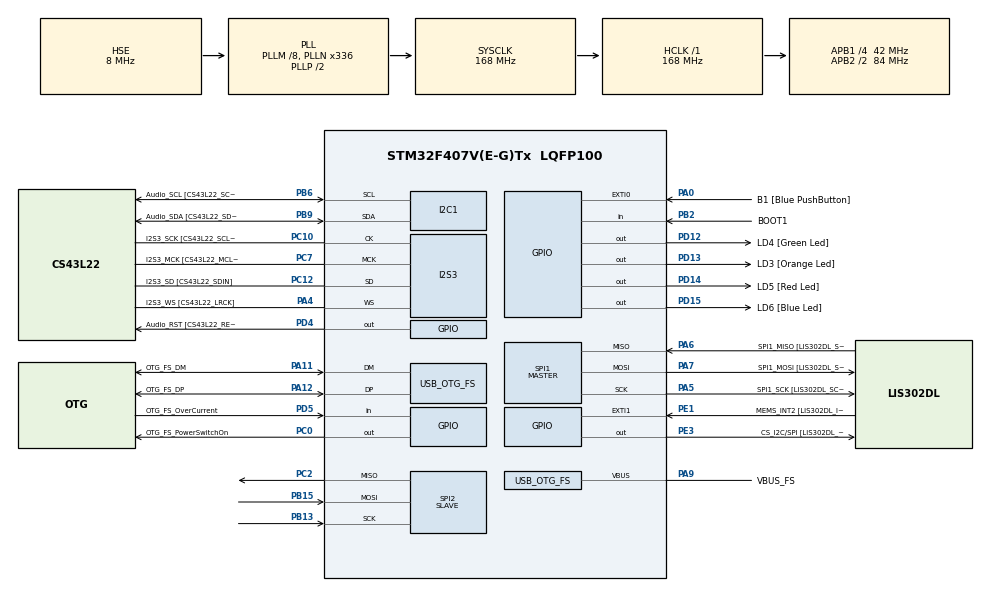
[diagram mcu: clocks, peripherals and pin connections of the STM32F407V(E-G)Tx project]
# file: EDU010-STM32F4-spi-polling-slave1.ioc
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I2S3.AudioFreq-Half_Duplex_Master=I2S_AUDIOFREQ_96K
I2S3.ErrorAudioFreq=-2.34 %
I2S3.ErrorAudioFreq-Half_Duplex_Master=0.8 %
I2S3.FullDuplexMode=I2S_FULLDUPLEXMODE_DISABLE
I2S3.Instance=SPI$Index
I2S3.RealAudioFreq=93.75 KHz
I2S3.RealAudioFreq-Half_Duplex_Master=96.774 KHz
I2S3.VirtualMode=I2S_MODE_MASTER
Mcu.Family=STM32F4
Mcu.Name=STM32F407V(E-G)Tx
Mcu.Package=LQFP100
NVIC.OTG_FS_IRQn=true\:0\:0\:false\:false\:true\:true\:true\:true
NVIC.PriorityGroup=NVIC_PRIORITYGROUP_0
NVIC.SPI2_IRQn=true\:0\:0\:false\:false\:true\:true\:true\:true
PA0-WKUP.GPIO_Label=B1 [Blue PushButton]
PA0-WKUP.GPIO_ModeDefaultEXTI=GPIO_MODE_EVT_RISING
PA0-WKUP.GPIO_PuPd=GPIO_NOPULL
PA0-WKUP.Signal=GPXTI0
PA10.GPIO_Label=OTG_FS_ID
PA10.GPIO_Mode=GPIO_MODE_AF_PP
PA10.GPIO_PuPd=GPIO_NOPULL
PA10.GPIO_Speed=GPIO_SPEED_FREQ_LOW
PA10.Signal=USB_OTG_FS_ID
PA11.GPIO_Label=OTG_FS_DM
PA11.GPIO_Mode=GPIO_MODE_AF_PP
PA11.GPIO_PuPd=GPIO_NOPULL
PA11.GPIO_Speed=GPIO_SPEED_FREQ_LOW
PA11.Mode=Host_Only
PA11.Signal=USB_OTG_FS_DM
PA12.GPIO_Label=OTG_FS_DP
PA12.GPIO_Mode=GPIO_MODE_AF_PP
PA12.GPIO_PuPd=GPIO_NOPULL
PA12.GPIO_Speed=GPIO_SPEED_FREQ_LOW
PA12.Mode=Host_Only
PA12.Signal=USB_OTG_FS_DP
PA13.GPIO_Label=SWDIO
PA13.Mode=Serial_Wire
PA13.Signal=SYS_JTMS-SWDIO
PA14.GPIO_Label=SWCLK
PA14.Mode=Serial_Wire
PA14.Signal=SYS_JTCK-SWCLK
PA4.GPIO_Label=I2S3_WS [CS43L22_LRCK]
PA4.GPIO_Mode=GPIO_MODE_AF_PP
PA4.GPIO_PuPd=GPIO_NOPULL
PA4.GPIO_Speed=GPIO_SPEED_FREQ_LOW
PA4.Mode=Half_Duplex_Master
PA4.Signal=I2S3_WS
PA5.GPIO_Label=SPI1_SCK [LIS302DL_SCL/SPC]
PA5.GPIO_Mode=GPIO_MODE_AF_PP
PA5.GPIO_PuPd=GPIO_NOPULL
PA5.GPIO_Speed=GPIO_SPEED_FREQ_LOW
PA5.Mode=Full_Duplex_Master
PA5.Signal=SPI1_SCK
PA6.GPIO_Label=SPI1_MISO [LIS302DL_SDO]
PA6.GPIO_Mode=GPIO_MODE_AF_PP
PA6.GPIO_PuPd=GPIO_NOPULL
PA6.GPIO_Speed=GPIO_SPEED_FREQ_LOW
PA6.Mode=Full_Duplex_Master
PA6.Signal=SPI1_MISO
PA7.GPIO_Label=SPI1_MOSI [LIS302DL_SDA/SDI/SDO]
PA7.GPIO_Mode=GPIO_MODE_AF_PP
PA7.GPIO_PuPd=GPIO_NOPULL
PA7.GPIO_Speed=GPIO_SPEED_FREQ_LOW
PA7.Mode=Full_Duplex_Master
PA7.Signal=SPI1_MOSI
PA9.GPIO_Label=VBUS_FS
PA9.GPIO_Mode=GPIO_MODE_INPUT
PA9.GPIO_PuPd=GPIO_NOPULL
PA9.Mode=Activate_VBUS
PA9.Signal=USB_OTG_FS_VBUS
PB10.GPIO_Label=CLK_IN [MP45DT02_CLK]
PB10.GPIO_Mode=GPIO_MODE_AF_PP
PB10.GPIO_PuPd=GPIO_NOPULL
PB10.GPIO_Speed=GPIO_SPEED_FREQ_LOW
PB10.Signal=I2S2_CK
PB13.Mode=Full_Duplex_Slave
PB13.Signal=SPI2_SCK
PB15.Mode=Full_Duplex_Slave
PB15.Signal=SPI2_MOSI
PB2.GPIO_Label=BOOT1
PB2.GPIO_Mode=GPIO_MODE_INPUT
PB2.GPIO_PuPd=GPIO_NOPULL
PB2.Signal=GPIO_Input
PB3.GPIO_Label=SWO
PB3.Signal=SYS_JTDO-SWO
PB6.GPIO_Label=Audio_SCL [CS43L22_SCL]
PB6.GPIO_Mode=GPIO_MODE_AF_OD
PB6.GPIO_Pu=GPIO_PULLUP
PB6.GPIO_PuPd=GPIO_NOPULL
PB6.GPIO_Speed=GPIO_SPEED_FREQ_LOW
PB6.Mode=I2C
PB6.Signal=I2C1_SCL
PB9.GPIO_Label=Audio_SDA [CS43L22_SDA]
PB9.GPIO_Mode=GPIO_MODE_AF_OD
PB9.GPIO_Pu=GPIO_PULLUP
PB9.GPIO_PuPd=GPIO_NOPULL
PB9.GPIO_Speed=GPIO_SPEED_FREQ_LOW
PB9.Mode=I2C
PB9.Signal=I2C1_SDA
PC0.GPIO_Label=OTG_FS_PowerSwitchOn
PC0.GPIO_PuPd=GPIO_NOPULL
PC0.GPIO_Speed=GPIO_SPEED_FREQ_LOW
PC0.PinState=GPIO_PIN_SET
PC0.Signal=GPIO_Output
PC10.GPIO_Label=I2S3_SCK [CS43L22_SCLK]
PC10.GPIO_Mode=GPIO_MODE_AF_PP
PC10.GPIO_PuPd=GPIO_NOPULL
PC10.GPIO_Speed=GPIO_SPEED_FREQ_LOW
PC10.Mode=Half_Duplex_Master
PC10.Signal=I2S3_CK
PC12.GPIO_Label=I2S3_SD [CS43L22_SDIN]
PC12.GPIO_Mode=GPIO_MODE_AF_PP
PC12.GPIO_PuPd=GPIO_NOPULL
PC12.GPIO_Speed=GPIO_SPEED_FREQ_LOW
PC12.Mode=Half_Duplex_Master
PC12.Signal=I2S3_SD
PC14-OSC32_IN.GPIO_Label=PC14-OSC32_IN
PC14-OSC32_IN.Mode=LSE-External-Oscillator
PC14-OSC32_IN.Signal=RCC_OSC32_IN
PC15-OSC32_OUT.GPIO_Label=PC15-OSC32_OUT
PC15-OSC32_OUT.Mode=LSE-External-Oscillator
PC15-OSC32_OUT.Signal=RCC_OSC32_OUT
PC2.Mode=Full_Duplex_Slave
PC2.Signal=SPI2_MISO
PC3.GPIO_Label=PDM_OUT [MP45DT02_DOUT]
PC3.GPIO_Mode=GPIO_MODE_AF_PP
PC3.GPIO_PuPd=GPIO_NOPULL
PC3.GPIO_Speed=GPIO_SPEED_FREQ_LOW
PC3.Signal=I2S2_SD
PC7.GPIO_Label=I2S3_MCK [CS43L22_MCLK]
PC7.GPIO_Mode=GPIO_MODE_AF_PP
PC7.GPIO_PuPd=GPIO_NOPULL
PC7.GPIO_Speed=GPIO_SPEED_FREQ_LOW
PC7.Mode=Master_Clock_Activated
PC7.Signal=I2S3_MCK
PD12.GPIO_Label=LD4 [Green Led]
PD12.GPIO_PuPd=GPIO_NOPULL
PD12.GPIO_Speed=GPIO_SPEED_FREQ_LOW
PD12.Signal=GPIO_Output
PD13.GPIO_Label=LD3 [Orange Led]
PD13.GPIO_PuPd=GPIO_NOPULL
PD13.GPIO_Speed=GPIO_SPEED_FREQ_LOW
PD13.Signal=GPIO_Output
PD14.GPIO_Label=LD5 [Red Led]
PD14.GPIO_PuPd=GPIO_NOPULL
PD14.GPIO_Speed=GPIO_SPEED_FREQ_LOW
PD14.Signal=GPIO_Output
PD15.GPIO_Label=LD6 [Blue Led]
PD15.GPIO_PuPd=GPIO_NOPULL
PD15.GPIO_Speed=GPIO_SPEED_FREQ_LOW
PD15.Signal=GPIO_Output
PD4.GPIO_Label=Audio_RST [CS43L22_RESET]
PD4.GPIO_PuPd=GPIO_NOPULL
PD4.GPIO_Speed=GPIO_SPEED_FREQ_LOW
PD4.Signal=GPIO_Output
PD5.GPIO_Label=OTG_FS_OverCurrent
PD5.GPIO_Mode=GPIO_MODE_INPUT
PD5.GPIO_PuPd=GPIO_NOPULL
PD5.Signal=GPIO_Input
PE1.GPIO_Label=MEMS_INT2 [LIS302DL_INT2]
PE1.GPIO_ModeDefaultEXTI=GPIO_MODE_EVT_RISING
PE1.GPIO_PuPd=GPIO_NOPULL
PE1.Signal=GPXTI1
PE3.GPIO_Label=CS_I2C/SPI [LIS302DL_CS_I2C/SPI]
PE3.GPIO_PuPd=GPIO_NOPULL
PE3.GPIO_Speed=GPIO_SPEED_FREQ_LOW
PE3.Signal=GPIO_Output
PH0-OSC_IN.GPIO_Label=PH0-OSC_IN
PH0-OSC_IN.Mode=HSE-External-Oscillator
PH0-OSC_IN.Signal=RCC_OSC_IN
PH1-OSC_OUT.GPIO_Label=PH1-OSC_OUT
PH1-OSC_OUT.Mode=HSE-External-Oscillator
PH1-OSC_OUT.Signal=RCC_OSC_OUT
ProjectManager.HeapSize=0x200
ProjectManager.StackSize=0x400
ProjectManager.TargetToolchain=STM32CubeIDE
RCC.48MHZClocksFreq_Value=48000000
RCC.AHBFreq_Value=168000000
RCC.APB1CLKDivider=RCC_HCLK_DIV4
RCC.APB1Freq_Value=42000000
RCC.APB1TimFreq_Value=84000000
RCC.APB2CLKDivider=RCC_HCLK_DIV2
RCC.APB2Freq_Value=84000000
RCC.APB2TimFreq_Value=168000000
RCC.CortexFreq_Value=168000000
RCC.HCLKFreq_Value=168000000
RCC.HSE_VALUE=8000000
RCC.HSI_VALUE=16000000
RCC.PLLM=8
RCC.PLLN=336
RCC.PLLQ=7
RCC.SYSCLKFreq_VALUE=168000000
RCC.SYSCLKSource=RCC_SYSCLKSOURCE_PLLCLK
RCC.VCOOutputFreq_Value=336000000
SPI1.BaudRatePrescaler-Full_Duplex_Master=SPI_BAUDRATEPRESCALER_2
SPI1.CalculateBaudRate-Full_Duplex_Master=42.0 MBits/s
SPI1.Direction=SPI_DIRECTION_2LINES
SPI1.Mode=SPI_MODE_MASTER
SPI1.Mode-Full_Duplex_Master=SPI_MODE_MASTER
SPI1.VirtualType=VM_MASTER
SPI2.CLKPhase=SPI_PHASE_2EDGE
SPI2.CLKPolarity=SPI_POLARITY_HIGH
SPI2.Direction=SPI_DIRECTION_2LINES
SPI2.Mode=SPI_MODE_SLAVE
SPI2.VirtualType=VM_SLAVE
USB_HOST.BSP.number=1
USB_HOST.USBH_HandleTypeDef-CDC_FS=hUsbHostFS
USB_HOST.VirtualModeFS=Cdc
USB_HOST0.BSP.STBoard=false
USB_HOST0.BSP.api=Unknown
USB_HOST0.BSP.instance=PC0
USB_HOST0.BSP.ip=GPIO
USB_HOST0.BSP.mode=Output
USB_HOST0.BSP.name=Drive_VBUS_FS
USB_HOST0.BSP.solution=PC0
USB_OTG_FS.VirtualMode=Host_Only
USB_OTG_FS.phy_itface=HCD_PHY_EMBEDDED
VP_USB_HOST_VS_USB_HOST_CDC_FS.Mode=CDC_FS
board=STM32F407G-DISC1

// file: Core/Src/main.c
/* USER CODE BEGIN Header */
/**
  ******************************************************************************
  * @file           : main.c
  * @brief          : Main program body
  ******************************************************************************
  * @attention
  *
  * Copyright (c) 2022 STMicroelectronics.
  * All rights reserved.
  *
  * This software is licensed under terms that can be found in the LICENSE file
  * in the root directory of this software component.
  * If no LICENSE file comes with this software, it is provided AS-IS.
  *
  ******************************************************************************
  */
/* USER CODE END Header */
#include "main.h"
#include "usb_host.h"

I2C_HandleTypeDef hi2c1;

I2S_HandleTypeDef hi2s3;

SPI_HandleTypeDef hspi1;
SPI_HandleTypeDef hspi2;

/* USER CODE BEGIN PV */
uint8_t spi_buf[4];
uint8_t t_buf[4] = {168 , 170 , 162 , 130};
uint8_t control_buf[4] ={85 ,244 , 115,183};
uint16_t counter = 0 ;
uint16_t tx_counter = 0 ;
uint8_t trasmit_status = 0 ;
uint8_t receive_status = 0 ;

uint8_t hal_ok_countertx;
uint8_t hal_busy_countertx;
uint8_t hal_error_countertx;
uint8_t hal_timeout_countertx;

uint8_t hal_ok_counterrx;
uint8_t hal_busy_counterrx;
uint8_t hal_error_counterrx;
uint8_t hal_timeout_counterrx;
/* USER CODE END PV */

void SystemClock_Config(void);
static void MX_GPIO_Init(void);
static void MX_I2C1_Init(void);
static void MX_I2S3_Init(void);
static void MX_SPI1_Init(void);
static void MX_SPI2_Init(void);
void MX_USB_HOST_Process(void);

int main(void)
{

  /* MCU Configuration--------------------------------------------------------*/

  /* Reset of all peripherals, Initializes the Flash interface and the Systick. */
  HAL_Init();

  /* Configure the system clock */
  SystemClock_Config();

  /* Initialize all configured peripherals */
  MX_GPIO_Init();
  MX_I2C1_Init();
  MX_I2S3_Init();
  MX_SPI1_Init();
  MX_USB_HOST_Init();
  MX_SPI2_Init();
  /* USER CODE BEGIN 2 */
  __HAL_SPI_ENABLE(&hspi2);
  /* USER CODE END 2 */

  /* Infinite loop */
  while (1)
  {
    MX_USB_HOST_Process();

    /* USER CODE BEGIN 3 */
    /*
    if(HAL_SPI_GetState(&hspi2)== HAL_SPI_STATE_READY){
		switch (HAL_SPI_Transmit_IT(&hspi2, t_buf, 1)) {
			case HAL_OK:
				hal_ok_countertx++;

				break;
			case HAL_BUSY :
				hal_busy_countertx++;
				break;
			case HAL_ERROR :
				hal_error_countertx++;
				break;
			case HAL_TIMEOUT :
				hal_timeout_countertx++;
				break;

			default:
				break;
		}
    }
    //HAL_GPIO_WritePin (GPIOB, GPIO_PIN_12, GPIO_PIN_RESET);
    if(HAL_SPI_GetState(&hspi2)== HAL_SPI_STATE_READY){
		switch (receive_status = HAL_SPI_Receive_IT(&hspi2, spi_buf, 1)){
		case HAL_OK:
			hal_ok_counterrx++;

			break;
		case HAL_BUSY :
			hal_busy_counterrx++;
			break;
		case HAL_ERROR :
			hal_error_counterrx++;
			break;
		case HAL_TIMEOUT :
			hal_timeout_counterrx++;
			break;

		default:
			break;

		}
    }

    if(HAL_SPI_GetState(&hspi2)== HAL_SPI_STATE_READY){
    		switch (HAL_SPI_TransmitReceive(&hspi2, t_buf, spi_buf, 1, 1000)){
    		case HAL_OK:
    			hal_ok_counterrx++;

    			break;
    		case HAL_BUSY :
    			hal_busy_counterrx++;
    			break;
    		case HAL_ERROR :
    			hal_error_counterrx++;
    			break;
    		case HAL_TIMEOUT :
    			hal_timeout_counterrx++;
    			break;

    		default:
    			break;

    		}
        }
        */
		if(HAL_SPI_GetState(&hspi2)== HAL_SPI_STATE_READY){
					switch (HAL_SPI_TransmitReceive(&hspi2,t_buf,spi_buf, 4, 1000)){
					case HAL_OK:
						hal_ok_counterrx++;

						break;
					case HAL_BUSY :
						hal_busy_counterrx++;
						break;
					case HAL_ERROR :
						hal_error_counterrx++;
						break;
					case HAL_TIMEOUT :
						hal_timeout_counterrx++;
						break;

					default:
						break;

					}
				}
	if (spi_buf[0] == control_buf[0] || spi_buf[1] == control_buf[1] || spi_buf[2] == control_buf[2] ||spi_buf[3] == control_buf[3]  ) {
		t_buf[3] = 40 ;
	}else {
		t_buf[3] = 80 ;
	}
      //HAL_Delay(10);
      //HAL_GPIO_WritePin (GPIOB, GPIO_PIN_12, GPIO_PIN_SET);
      if (spi_buf[0] == 85 ) {
    	  HAL_GPIO_WritePin(LD5_GPIO_Port, LD5_Pin, GPIO_PIN_SET);
    }else {
    	HAL_GPIO_WritePin(LD5_GPIO_Port, LD5_Pin, GPIO_PIN_RESET);

    }
  }

  /* USER CODE END 3 */
}

void SystemClock_Config(void)
{
  RCC_OscInitTypeDef RCC_OscInitStruct = {0};
  RCC_ClkInitTypeDef RCC_ClkInitStruct = {0};

  /** Configure the main internal regulator output voltage
  */
  __HAL_RCC_PWR_CLK_ENABLE();
  __HAL_PWR_VOLTAGESCALING_CONFIG(PWR_REGULATOR_VOLTAGE_SCALE1);

  /** Initializes the RCC Oscillators according to the specified parameters
  * in the RCC_OscInitTypeDef structure.
  */
  RCC_OscInitStruct.OscillatorType = RCC_OSCILLATORTYPE_HSE;
  RCC_OscInitStruct.HSEState = RCC_HSE_ON;
  RCC_OscInitStruct.PLL.PLLState = RCC_PLL_ON;
  RCC_OscInitStruct.PLL.PLLSource = RCC_PLLSOURCE_HSE;
  RCC_OscInitStruct.PLL.PLLM = 8;
  RCC_OscInitStruct.PLL.PLLN = 336;
  RCC_OscInitStruct.PLL.PLLP = RCC_PLLP_DIV2;
  RCC_OscInitStruct.PLL.PLLQ = 7;
  if (HAL_RCC_OscConfig(&RCC_OscInitStruct) != HAL_OK)
  {
    Error_Handler();
  }

  /** Initializes the CPU, AHB and APB buses clocks
  */
  RCC_ClkInitStruct.ClockType = RCC_CLOCKTYPE_HCLK|RCC_CLOCKTYPE_SYSCLK
                              |RCC_CLOCKTYPE_PCLK1|RCC_CLOCKTYPE_PCLK2;
  RCC_ClkInitStruct.SYSCLKSource = RCC_SYSCLKSOURCE_PLLCLK;
  RCC_ClkInitStruct.AHBCLKDivider = RCC_SYSCLK_DIV1;
  RCC_ClkInitStruct.APB1CLKDivider = RCC_HCLK_DIV4;
  RCC_ClkInitStruct.APB2CLKDivider = RCC_HCLK_DIV2;

  if (HAL_RCC_ClockConfig(&RCC_ClkInitStruct, FLASH_LATENCY_5) != HAL_OK)
  {
    Error_Handler();
  }
}

static void MX_I2C1_Init(void)
{

  hi2c1.Instance = I2C1;
  hi2c1.Init.ClockSpeed = 100000;
  hi2c1.Init.DutyCycle = I2C_DUTYCYCLE_2;
  hi2c1.Init.OwnAddress1 = 0;
  hi2c1.Init.AddressingMode = I2C_ADDRESSINGMODE_7BIT;
  hi2c1.Init.DualAddressMode = I2C_DUALADDRESS_DISABLE;
  hi2c1.Init.OwnAddress2 = 0;
  hi2c1.Init.GeneralCallMode = I2C_GENERALCALL_DISABLE;
  hi2c1.Init.NoStretchMode = I2C_NOSTRETCH_DISABLE;
  if (HAL_I2C_Init(&hi2c1) != HAL_OK)
  {
    Error_Handler();
  }

}

static void MX_I2S3_Init(void)
{

  hi2s3.Instance = SPI3;
  hi2s3.Init.Mode = I2S_MODE_MASTER_TX;
  hi2s3.Init.Standard = I2S_STANDARD_PHILIPS;
  hi2s3.Init.DataFormat = I2S_DATAFORMAT_16B;
  hi2s3.Init.MCLKOutput = I2S_MCLKOUTPUT_ENABLE;
  hi2s3.Init.AudioFreq = I2S_AUDIOFREQ_96K;
  hi2s3.Init.CPOL = I2S_CPOL_LOW;
  hi2s3.Init.ClockSource = I2S_CLOCK_PLL;
  hi2s3.Init.FullDuplexMode = I2S_FULLDUPLEXMODE_DISABLE;
  if (HAL_I2S_Init(&hi2s3) != HAL_OK)
  {
    Error_Handler();
  }

}

static void MX_SPI1_Init(void)
{

  /* SPI1 parameter configuration*/
  hspi1.Instance = SPI1;
  hspi1.Init.Mode = SPI_MODE_MASTER;
  hspi1.Init.Direction = SPI_DIRECTION_2LINES;
  hspi1.Init.DataSize = SPI_DATASIZE_8BIT;
  hspi1.Init.CLKPolarity = SPI_POLARITY_LOW;
  hspi1.Init.CLKPhase = SPI_PHASE_1EDGE;
  hspi1.Init.NSS = SPI_NSS_SOFT;
  hspi1.Init.BaudRatePrescaler = SPI_BAUDRATEPRESCALER_2;
  hspi1.Init.FirstBit = SPI_FIRSTBIT_MSB;
  hspi1.Init.TIMode = SPI_TIMODE_DISABLE;
  hspi1.Init.CRCCalculation = SPI_CRCCALCULATION_DISABLE;
  hspi1.Init.CRCPolynomial = 10;
  if (HAL_SPI_Init(&hspi1) != HAL_OK)
  {
    Error_Handler();
  }

}

static void MX_SPI2_Init(void)
{

  /* SPI2 parameter configuration*/
  hspi2.Instance = SPI2;
  hspi2.Init.Mode = SPI_MODE_SLAVE;
  hspi2.Init.Direction = SPI_DIRECTION_2LINES;
  hspi2.Init.DataSize = SPI_DATASIZE_8BIT;
  hspi2.Init.CLKPolarity = SPI_POLARITY_HIGH;
  hspi2.Init.CLKPhase = SPI_PHASE_2EDGE;
  hspi2.Init.NSS = SPI_NSS_SOFT;
  hspi2.Init.FirstBit = SPI_FIRSTBIT_MSB;
  hspi2.Init.TIMode = SPI_TIMODE_DISABLE;
  hspi2.Init.CRCCalculation = SPI_CRCCALCULATION_DISABLE;
  hspi2.Init.CRCPolynomial = 10;
  if (HAL_SPI_Init(&hspi2) != HAL_OK)
  {
    Error_Handler();
  }

}

static void MX_GPIO_Init(void)
{
  GPIO_InitTypeDef GPIO_InitStruct = {0};

  /* GPIO Ports Clock Enable */
  __HAL_RCC_GPIOE_CLK_ENABLE();
  __HAL_RCC_GPIOC_CLK_ENABLE();
  __HAL_RCC_GPIOH_CLK_ENABLE();
  __HAL_RCC_GPIOA_CLK_ENABLE();
  __HAL_RCC_GPIOB_CLK_ENABLE();
  __HAL_RCC_GPIOD_CLK_ENABLE();

  /*Configure GPIO pin Output Level */
  HAL_GPIO_WritePin(CS_I2C_SPI_GPIO_Port, CS_I2C_SPI_Pin, GPIO_PIN_RESET);

  /*Configure GPIO pin Output Level */
  HAL_GPIO_WritePin(OTG_FS_PowerSwitchOn_GPIO_Port, OTG_FS_PowerSwitchOn_Pin, GPIO_PIN_SET);

  /*Configure GPIO pin Output Level */
  HAL_GPIO_WritePin(GPIOD, LD4_Pin|LD3_Pin|LD5_Pin|LD6_Pin
                          |Audio_RST_Pin, GPIO_PIN_RESET);

  /*Configure GPIO pin : CS_I2C_SPI_Pin */
  GPIO_InitStruct.Pin = CS_I2C_SPI_Pin;
  GPIO_InitStruct.Mode = GPIO_MODE_OUTPUT_PP;
  GPIO_InitStruct.Pull = GPIO_NOPULL;
  GPIO_InitStruct.Speed = GPIO_SPEED_FREQ_LOW;
  HAL_GPIO_Init(CS_I2C_SPI_GPIO_Port, &GPIO_InitStruct);

  /*Configure GPIO pin : OTG_FS_PowerSwitchOn_Pin */
  GPIO_InitStruct.Pin = OTG_FS_PowerSwitchOn_Pin;
  GPIO_InitStruct.Mode = GPIO_MODE_OUTPUT_PP;
  GPIO_InitStruct.Pull = GPIO_NOPULL;
  GPIO_InitStruct.Speed = GPIO_SPEED_FREQ_LOW;
  HAL_GPIO_Init(OTG_FS_PowerSwitchOn_GPIO_Port, &GPIO_InitStruct);

  /*Configure GPIO pin : PDM_OUT_Pin */
  GPIO_InitStruct.Pin = PDM_OUT_Pin;
  GPIO_InitStruct.Mode = GPIO_MODE_AF_PP;
  GPIO_InitStruct.Pull = GPIO_NOPULL;
  GPIO_InitStruct.Speed = GPIO_SPEED_FREQ_LOW;
  GPIO_InitStruct.Alternate = GPIO_AF5_SPI2;
  HAL_GPIO_Init(PDM_OUT_GPIO_Port, &GPIO_InitStruct);

  /*Configure GPIO pin : B1_Pin */
  GPIO_InitStruct.Pin = B1_Pin;
  GPIO_InitStruct.Mode = GPIO_MODE_EVT_RISING;
  GPIO_InitStruct.Pull = GPIO_NOPULL;
  HAL_GPIO_Init(B1_GPIO_Port, &GPIO_InitStruct);

  /*Configure GPIO pin : BOOT1_Pin */
  GPIO_InitStruct.Pin = BOOT1_Pin;
  GPIO_InitStruct.Mode = GPIO_MODE_INPUT;
  GPIO_InitStruct.Pull = GPIO_NOPULL;
  HAL_GPIO_Init(BOOT1_GPIO_Port, &GPIO_InitStruct);

  /*Configure GPIO pin : CLK_IN_Pin */
  GPIO_InitStruct.Pin = CLK_IN_Pin;
  GPIO_InitStruct.Mode = GPIO_MODE_AF_PP;
  GPIO_InitStruct.Pull = GPIO_NOPULL;
  GPIO_InitStruct.Speed = GPIO_SPEED_FREQ_LOW;
  GPIO_InitStruct.Alternate = GPIO_AF5_SPI2;
  HAL_GPIO_Init(CLK_IN_GPIO_Port, &GPIO_InitStruct);

  /*Configure GPIO pins : LD4_Pin LD3_Pin LD5_Pin LD6_Pin
                           Audio_RST_Pin */
  GPIO_InitStruct.Pin = LD4_Pin|LD3_Pin|LD5_Pin|LD6_Pin
                          |Audio_RST_Pin;
  GPIO_InitStruct.Mode = GPIO_MODE_OUTPUT_PP;
  GPIO_InitStruct.Pull = GPIO_NOPULL;
  GPIO_InitStruct.Speed = GPIO_SPEED_FREQ_LOW;
  HAL_GPIO_Init(GPIOD, &GPIO_InitStruct);

  /*Configure GPIO pin : OTG_FS_OverCurrent_Pin */
  GPIO_InitStruct.Pin = OTG_FS_OverCurrent_Pin;
  GPIO_InitStruct.Mode = GPIO_MODE_INPUT;
  GPIO_InitStruct.Pull = GPIO_NOPULL;
  HAL_GPIO_Init(OTG_FS_OverCurrent_GPIO_Port, &GPIO_InitStruct);

  /*Configure GPIO pin : MEMS_INT2_Pin */
  GPIO_InitStruct.Pin = MEMS_INT2_Pin;
  GPIO_InitStruct.Mode = GPIO_MODE_EVT_RISING;
  GPIO_InitStruct.Pull = GPIO_NOPULL;
  HAL_GPIO_Init(MEMS_INT2_GPIO_Port, &GPIO_InitStruct);

}

/* USER CODE BEGIN 4 */
void HAL_SPI_TxCpltCallback(SPI_HandleTypeDef *hspi)
{
	tx_counter++;

}
void HAL_SPI_RxCpltCallback(SPI_HandleTypeDef * hspi)
{
	counter++;
    //HAL_SPI_Receive_IT(&hspi2, spi_buf, 1);

}
/* USER CODE END 4 */

void Error_Handler(void)
{
  __disable_irq();
  while (1)
  {
  }
}
